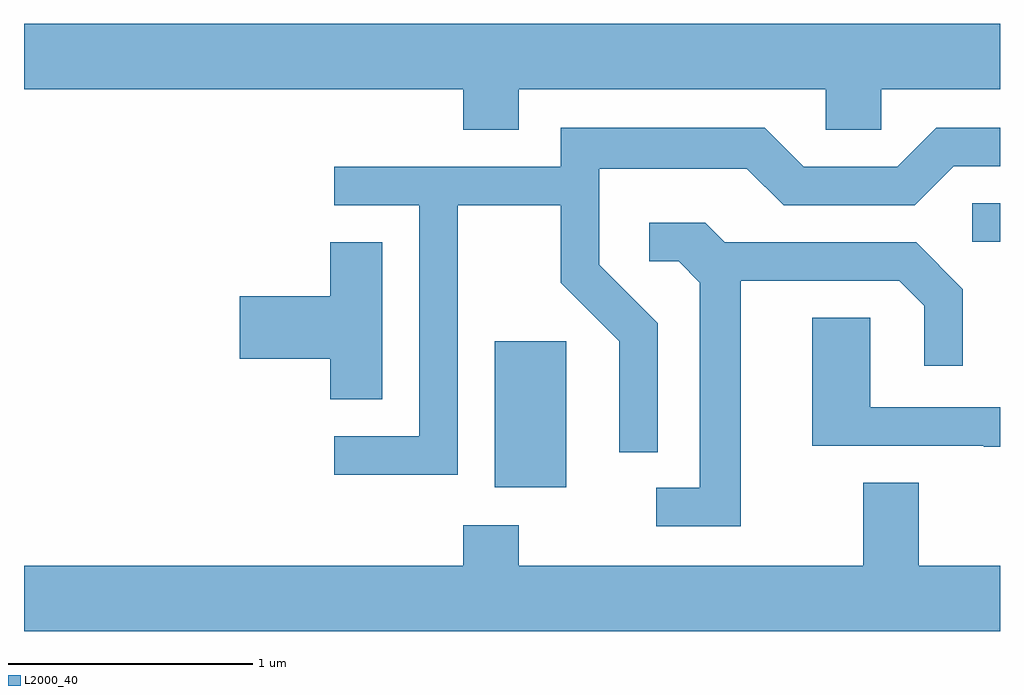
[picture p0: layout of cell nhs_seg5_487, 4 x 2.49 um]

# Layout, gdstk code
import gdstk
lib = gdstk.Library(unit=1e-6, precision=1e-09)
def R(c, l, rs):  # rectangles x0, y0, x1, y1
    for r in rs: c.add(gdstk.rectangle(r[:2], r[2:], *l))
def P(c, l, *ps):  # polygons
    for p in ps: c.add(gdstk.Polygon(p, *l))
L2000_40 = (2000, 40)

nhs_seg5_487 = lib.new_cell('nhs_seg5_487')
R(nhs_seg5_487, L2000_40, [(201.541,1419.646,201.834,1420.244), (203.498,1420.651,203.611,1420.809)])
P(nhs_seg5_487, L2000_40, [(201.639,1421.276),(202.896,1421.276),(202.896,1421.111),(203.124,1421.111),(203.124,1421.276),(203.611,1421.276),(203.611,1421.544),(199.611,1421.544),(199.611,1421.276),(201.411,1421.276),(201.411,1421.111),(201.639,1421.111)],
  [(201.389,1420.801),(201.811,1420.801),(201.811,1420.484),(202.051,1420.244),(202.051,1419.788),(202.209,1419.788),(202.209,1420.317),(201.969,1420.557),(201.969,1420.951),(202.574,1420.951),(202.724,1420.801),(203.262,1420.801),(203.422,1420.961),(203.611,1420.961),(203.611,1421.119),(203.349,1421.119),(203.189,1420.959),(202.807,1420.959),(202.647,1421.119),(201.811,1421.119),(201.811,1420.959),(200.883,1420.959),(200.883,1420.801),(201.231,1420.801),(201.231,1419.854),(200.883,1419.854),(200.883,1419.696),(201.389,1419.696)],
  [(202.549,1420.491),(203.199,1420.491),(203.301,1420.389),(203.301,1420.143),(203.459,1420.143),(203.459,1420.457),(203.267,1420.649),(202.482,1420.649),(202.402,1420.729),(202.173,1420.729),(202.173,1420.571),(202.294,1420.571),(202.381,1420.484),(202.381,1419.644),(202.203,1419.644),(202.203,1419.486),(202.549,1419.486)],
  [(201.079,1420.649),(200.866,1420.649),(200.866,1420.429),(200.496,1420.429),(200.496,1420.171),(200.866,1420.171),(200.866,1420.006),(201.079,1420.006)],
  [(203.611,1419.974),(203.079,1419.974),(203.079,1420.339),(202.841,1420.339),(202.841,1419.816),(203.545,1419.816),(203.545,1419.811),(203.611,1419.811)],
  [(203.611,1419.324),(203.279,1419.324),(203.279,1419.664),(203.051,1419.664),(203.051,1419.324),(201.639,1419.324),(201.639,1419.489),(201.411,1419.489),(201.411,1419.324),(199.611,1419.324),(199.611,1419.056),(203.611,1419.056)])

lib.write_gds('nhs_seg5_487.gds')
